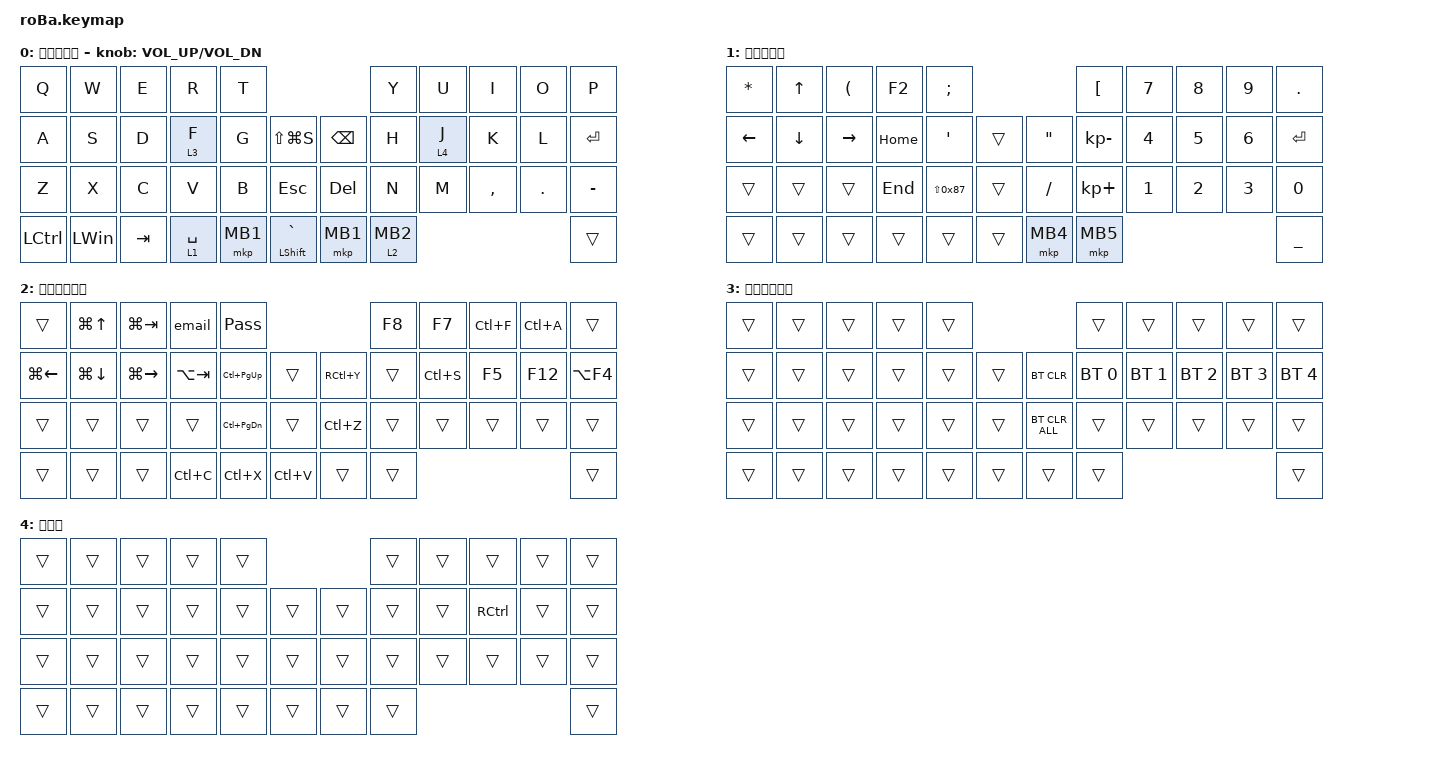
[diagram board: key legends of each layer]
// 各定義読み込み

#include <behaviors.dtsi>
#include <dt-bindings/zmk/bt.h>
#include <dt-bindings/zmk/keys.h>
#include <dt-bindings/zmk/pointing.h>

// 英語配列を日本語配列のまま使用するための変換定義

#define JP_DQUOTE       AT                // "
#define JP_AMPERSAND    CARET             // &
#define JP_QUOTE        AMPERSAND         // '
#define JP_EQUAL        UNDER             // =
#define JP_CARET        EQUAL             // ^
#define JP_YEN          0x89              // ¥
#define JP_PLUS         COLON             // +
#define JP_TILDE        PLUS              // ~
#define JP_PIPE         LS(0x89)          // |
#define JP_AT           LEFT_BRACKET      // @
#define JP_COLON        SINGLE_QUOTE      // :
#define JP_ASTERISK     DOUBLE_QUOTES     // *
#define JP_BACKQUOTE    LEFT_BRACE        // `
#define JP_UNDERSCORE   LS(0x87)          // _
#define JP_LBRACKET     RIGHT_BRACKET     // [
#define JP_RBRACKET     BACKSLASH         // ]
#define JP_LPAREN       ASTERISK          // (
#define JP_RPAREN       LEFT_PARENTHESIS  // )
#define JP_LBRACE       RIGHT_BRACE       // {
#define JP_RBRACE       PIPE              // }
#define JP_KANA         LANGUAGE_1        // かな
#define JP_EISU         LANGUAGE_2        // 英数
#define JP_HANZEN       GRAVE             // 半角/全角

// Layer Tapの定義

&lt {
    flavor = "tap-preferred";
    tapping-term-ms = <200>; // tapping-term-ms: タップとホールドの判定時間（ms）
};

// Mod Tapの定義

&mt {
    flavor = "balanced";
    quick-tap-ms = <0>;
};

// scroll-layerの定義

&trackball { scroll-layers = <4>; };

/ {
    combos { compatible = "zmk,combos"; };

    macros {
        to_layer_0: to_layer_0 {
            compatible = "zmk,behavior-macro-one-param";
            #binding-cells = <1>;
            bindings = <&to 0 &macro_param_1to1 &kp MACRO_PLACEHOLDER>;
            label = "TO_LAYER_0";
        };
    };

    behaviors {
        lt_to_layer_0: lt_to_layer_0 {
            compatible = "zmk,behavior-hold-tap";
            label = "LAYER_TAP_TO_0";
            bindings = <&mo>, <&to_layer_0>;

            #binding-cells = <2>;
            tapping-term-ms = <200>;
        };

        email: email {
            compatible = "zmk,behavior-macro";
            #binding-cells = <0>;
            wait-ms = <20>;
            tap-ms = <20>;
            bindings = <&kp K &kp A &kp Z &kp U &kp K &kp I &kp DOT &kp U &kp N1 &kp N0 &kp N4 &kp LEFT_BRACKET &kp G &kp M &kp A &kp I &kp L &kp DOT &kp C &kp O &kp M>;
        };

        Pass: Pass {
            compatible = "zmk,behavior-macro";
            #binding-cells = <0>;
            wait-ms = <20>;
            tap-ms = <20>;
            bindings = <&kp N9 &kp C &kp N8 &kp S &kp NUMBER_4 &kp X &kp R &kp P>;
        };

        // カスタムLayer-Tap: tap側に &mkp を使用したマウスクリック用

        lt_mkp: lt_mkp {
            compatible = "zmk,behavior-hold-tap";
            label = "lt_mkp";
            #binding-cells = <2>;
            tapping-term-ms = <200>;
            flavor = "tap-preferred";
            bindings = <&mo>, <&mkp>;
        };
    };

    // キーマップの定義

    keymap {
        compatible = "zmk,keymap";

        SURFACE {
            bindings = <
&kp Q             &kp W         &kp E    &kp R        &kp T                                          &kp Y          &kp U    &kp I      &kp O    &kp P
&kp A             &kp S         &kp D    &lt 3 F      &kp G     &kp LS(LG(S))         &kp BACKSPACE  &kp H          &lt 4 J  &kp K      &kp L    &kp ENTER
&kp Z             &kp X         &kp C    &kp V        &kp B     &kp ESCAPE            &kp DELETE     &kp N          &kp M    &kp COMMA  &kp DOT  &kp MINUS
&kp LEFT_CONTROL  &kp LEFT_WIN  &kp TAB  &lt 1 SPACE  &mkp MB1  &mt LSHIFT GRAVE      &mkp MB1       &lt_mkp 2 MB2                               &trans
            >;

            sensor-bindings = <&inc_dec_kp C_VOL_UP C_VOL_DN>;
            label = "サーフェス";
        };

        SUNLIT {
            bindings = <
&kp ASTRK       &kp UP_ARROW    &kp LEFT_PARENTHESIS  &kp F2    &kp SEMICOLON                                    &kp LEFT_BRACKET  &kp N7        &kp N8        &kp NUMBER_9  &kp PERIOD
&kp LEFT_ARROW  &kp DOWN_ARROW  &kp RIGHT_ARROW       &kp HOME  &kp SINGLE_QUOTE  &trans      &kp DOUBLE_QUOTES  &kp KP_MINUS      &kp NUMBER_4  &kp N5        &kp NUMBER_6  &kp ENTER
&trans          &trans          &trans                &kp END   &kp LS(0x87)      &trans      &kp SLASH          &kp KP_PLUS       &kp NUMBER_1  &kp NUMBER_2  &kp NUMBER_3  &kp NUMBER_0
&trans          &trans          &trans                &trans    &trans            &trans      &mkp MB4           &mkp MB5                                                    &kp UNDER
            >;

            label = "サンリット";
        };

        TWILIGHT {
            bindings = <
&trans              &kp LG(UP_ARROW)    &kp LG(TAB)          &email       &Pass                                        &kp F8  &kp F7     &kp LC(F)  &kp LC(A)  &trans
&kp LG(LEFT_ARROW)  &kp LG(DOWN_ARROW)  &kp LG(RIGHT_ARROW)  &kp LA(TAB)  &kp LC(PAGE_UP)    &trans         &kp RC(Y)  &trans  &kp LC(S)  &kp F5     &kp F12    &kp LA(F4)
&trans              &trans              &trans               &trans       &kp LC(PAGE_DOWN)  &trans         &kp LC(Z)  &trans  &trans     &trans     &trans     &trans
&trans              &trans              &trans               &kp LC(C)    &kp LC(X)          &kp LC(V)      &trans     &trans                                   &trans
            >;

            label = "トワイライト";
        };

        MIDNIGHT {
            bindings = <
&trans  &trans  &trans  &trans  &trans                              &trans        &trans        &trans        &trans        &trans
&trans  &trans  &trans  &trans  &trans  &trans      &bt BT_CLR      &bt BT_SEL 0  &bt BT_SEL 1  &bt BT_SEL 2  &bt BT_SEL 3  &bt BT_SEL 4
&trans  &trans  &trans  &trans  &trans  &trans      &bt BT_CLR_ALL  &trans        &trans        &trans        &trans        &trans
&trans  &trans  &trans  &trans  &trans  &trans      &trans          &trans                                                  &trans
            >;

            label = "ミッドナイト";
        };

        ABYSS {
            bindings = <
&trans  &trans  &trans  &trans  &trans                      &trans  &trans  &trans             &trans  &trans
&trans  &trans  &trans  &trans  &trans  &trans      &trans  &trans  &trans  &kp RIGHT_CONTROL  &trans  &trans
&trans  &trans  &trans  &trans  &trans  &trans      &trans  &trans  &trans  &trans             &trans  &trans
&trans  &trans  &trans  &trans  &trans  &trans      &trans  &trans                                     &trans
            >;

            label = "アビス";
        };
    };

    conditional_layers { compatible = "zmk,conditional-layers"; };
};
